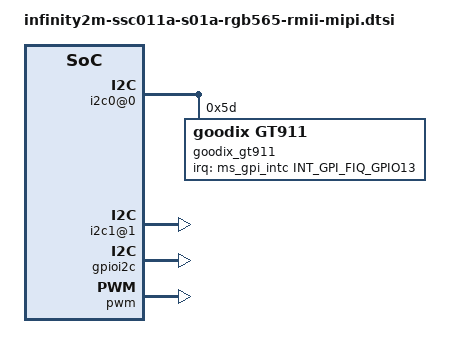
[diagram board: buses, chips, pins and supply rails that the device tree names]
/*
* infinity2m-ssc011a-s01a-rgb565-rmii-mipi.dtsi- Sigmastar
*
* Copyright (c) [2019~2020] SigmaStar Technology.
*
*
* This software is licensed under the terms of the GNU General Public
* License version 2, as published by the Free Software Foundation, and
* may be copied, distributed, and modified under those terms.
*
* This program is distributed in the hope that it will be useful,
* but WITHOUT ANY WARRANTY; without even the implied warranty of
* MERCHANTABILITY or FITNESS FOR A PARTICULAR PURPOSE.  See the
* GNU General Public License version 2 for more details.
*
*/

/ {
    soc {

        cpufreq {
            vid-num = /bits/ 8 <2>;
        };
        core_voltage {
            vid_width = <1>;
            vid_gpios = <PAD_SAR_GPIO1>;
            vid_voltages = <900 1000>;  //2b'00 2b'01
        };
        i2c0@0{
            compatible = "sstar,i2c";
            reg = <0x1F223000 0x200>,<0x1F203c00 0x200>,<0x1F207000 0x200>;
                #address-cells = <1>;
                #size-cells = <0>;
            clocks = <&CLK_miic0>;
            i2c-group = <0>;
            /*
             * padmux: 1 -> PAD_HDMITX_SCL, PAD_HDMITX_SDA
             *         2 -> PAD_TTL1, PAD_TTL2
             *         3 -> PAD_TTL14, PAD_TTL15
             *         4 -> PAD_GPIO6, PAD_GPIO7
            */
            i2c-padmux = <4>;
           /*
              *  speed: 0 -> HWI2C_HIGH(high speed: 400 KHz)
              *         1 -> HWI2C_NORMAL(normal speed: 300 KHz)
              *         2 -> HWI2C_SLOW(slow speed: 200 KHz)
              *         3 -> HWI2C_VSLOW(very slow: 100 KHz)
              *         4 -> HWI2C_USLOW(ultra slow: 50 KHz)
              *         5 -> HWI2C_UVSLOW(ultra-very slow: 25 KHz)
              */
            i2c-speed = <3>;
            i2c-en-dma = <0>;  // 0: disable; 1: enable;
            status = "ok";
            goodix_gt911@5D{ //EVB i2c-padmux=2 SSD201_SZ_DEMO_BOARD i2c-padmux=1
                        compatible = "goodix,gt911";
                        reg = <0x5D>;
                        goodix_rst = <PAD_GPIO14>; //SSD201_SZ_DEMO_BOARD PAD_GPIO1  EVB PAD_GPIO0
                        goodix_int = <PAD_GPIO13>; //SSD201_SZ_DEMO_BOARD PAD_GPIO13  EVB PAD_GPIO1
                        interrupts-extended = <&ms_gpi_intc INT_GPI_FIQ_GPIO13>;
                        interrupt-names = "goodix_int";
            };
        };

        i2c1@1{
            compatible = "sstar,i2c";
            reg = <0x1F223200 0x200>,<0x1F203c00 0x200>,<0x1F207000 0x200>;
                #address-cells = <1>;
                #size-cells = <0>;
            clocks = <&CLK_miic1>;
            i2c-group = <1>;
            /*
             * padmux: 1 -> PAD_GPIO2, PAD_GPIO3
             *         2 -> PAD_HDMITX_SCL, PAD_HDMITX_SDA
             *         4 -> PAD_TTL22, PAD_TTL23
             *         5 -> PAD_SD_CLK, PAD_SD_CMD
            */
            i2c-padmux = <2>;
            /*
              *  speed: 0 -> HWI2C_HIGH(high speed: 400 KHz)
              *         1 -> HWI2C_NORMAL(normal speed: 300 KHz)
              *         2 -> HWI2C_SLOW(slow speed: 200 KHz)
              *         3 -> HWI2C_VSLOW(very slow: 100 KHz)
              *         4 -> HWI2C_USLOW(ultra slow: 50 KHz)
              *         5 -> HWI2C_UVSLOW(ultra-very slow: 25 KHz)
              */
            i2c-speed = <3>;
            i2c-en-dma = <0>;  // 0: disable; 1: enable;
            status = "ok";

        };

        gpioi2c {
            compatible = "sstar,infinity-gpioi2c";
            scl-gpio = <PAD_GPIO11>;
            sda-gpio = <PAD_GPIO12>;
            status = "ok";
        };
		sound {
            compatible = "sstar,audio";
//            reg = <0x1F000000 0x1000000>;
            interrupts=<GIC_SPI INT_IRQ_BACH IRQ_TYPE_LEVEL_HIGH>;
            playback-volume-level=<64>;    //0~94
            capture-volume-level=<64>;
           // micin-pregain-level=<1>;    //0~3
            micin-pregain-level=<0>;    //0~3
            micin-gain-level=<3>;    //0~7
            linein-gain-level=<2>;  //0~7
            amp-gpio = <PAD_FUART_RX 1>;
            clocks = <&CLK_upll_384m>;
           // playback-dma-buffer=<98304>; //512(ms)*48(kHz)*2(ch)*2(16bits)
           // capture-dma-buffer=<122880>; //640(ms)*48(kHz)*2(ch)*2(16bits)
            digmic-padmux = <2>;
            i2s-padmux = <2>;
            keep-i2s-clk = <0>;
            status = "ok";
        };
		
		pwm {
            compatible = "sstar,infinity-pwm";
            reg = <0x1F003400 0x600>;
            clocks = <&CLK_xtali_12m>;
            npwm = <2>;
            pad-ctrl = <PAD_GPIO4 PAD_GPIO5>;
            status = "ok";  // no available pads
        };
		
		disp: disp {
            compatible = "sstar,disp";
            status = "ok";
            interrupts = <GIC_SPI INT_IRQ_DISP0 IRQ_TYPE_LEVEL_HIGH>, <GIC_SPI INT_IRQ_DISP_1 IRQ_TYPE_LEVEL_HIGH>, <GIC_SPI INT_IRQ_DISP_3 IRQ_TYPE_LEVEL_HIGH>;
            clocks = <&CLK_mop>, <&CLK_disp_432>, <&CLK_disp_216>;
            clock-names = "CLK_mop", "CLK_disp_432", "CLK_disp_216";
            //Reg = <0x1F224000 0x200>;
        };

     };

};
